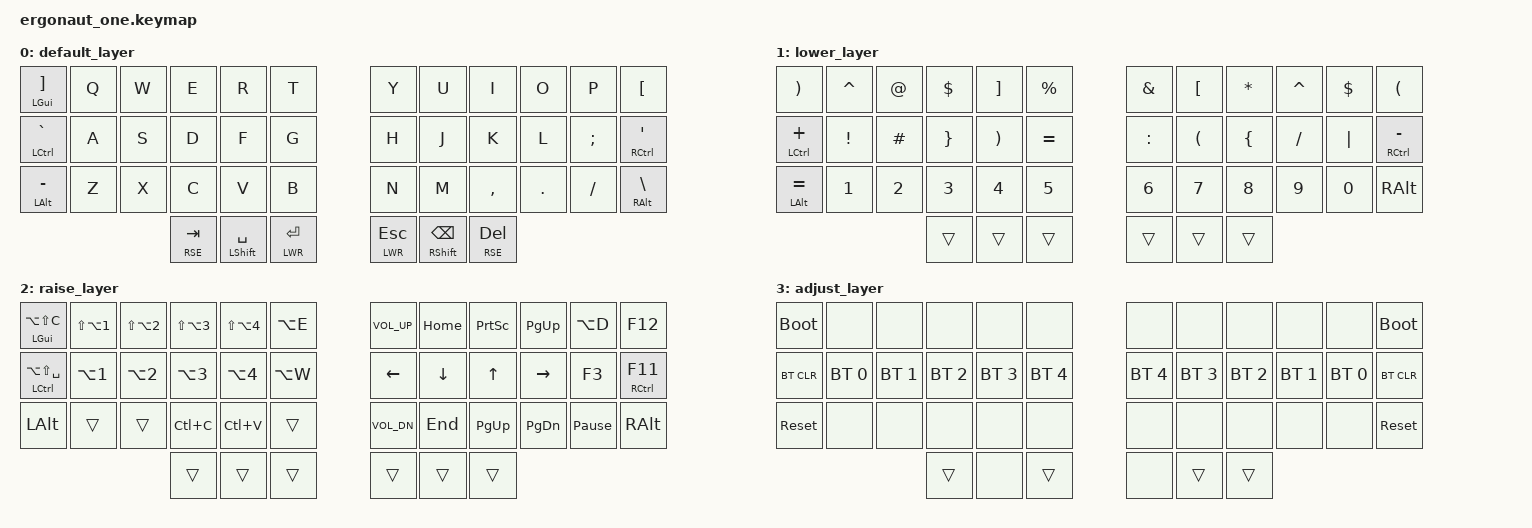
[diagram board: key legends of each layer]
#include <behaviors.dtsi>
#include <dt-bindings/zmk/bt.h>
#include <dt-bindings/zmk/keys.h>

#define DEF 0
#define LWR 1
#define RSE 2
#define ADJ 3

&lt {
    quick-tap-ms = <200>;
};

&mt {
    quick-tap-ms = <200>;
};

/ {
    conditional_layers {
        compatible = "zmk,conditional-layers";

        tri-layer {
            if-layers = <1 2>;
            then-layer = <3>;
        };
    };

    keymap {
        compatible = "zmk,keymap";

        default_layer {
            bindings = <
&mt LGUI RBKT    &kp Q  &kp W  &kp E        &kp R            &kp T        &kp Y        &kp U           &kp I        &kp O    &kp P     &kp LBKT
&mt LCTRL GRAVE  &kp A  &kp S  &kp D        &kp F            &kp G        &kp H        &kp J           &kp K        &kp L    &kp SEMI  &mt RCTRL SQT
&mt LALT MINUS   &kp Z  &kp X  &kp C        &kp V            &kp B        &kp N        &kp M           &kp COMMA    &kp DOT  &kp FSLH  &mt RALT BSLH
                               &lt RSE TAB  &mt LSHFT SPACE  &lt LWR RET  &lt LWR ESC  &mt RSHFT BSPC  &lt RSE DEL
            >;
        };

        lower_layer {
            bindings = <
&kp RIGHT_PARENTHESIS  &kp CARET  &kp AT    &kp DOLLAR       &kp RIGHT_BRACKET      &kp PERCENT  &kp AMPERSAND  &kp LEFT_BRACKET      &kp ASTERISK    &kp CARET  &kp DOLLAR  &kp LEFT_PARENTHESIS
&mt LCTRL PLUS         &kp EXCL   &kp HASH  &kp RIGHT_BRACE  &kp RIGHT_PARENTHESIS  &kp EQUAL    &kp COLON      &kp LEFT_PARENTHESIS  &kp LEFT_BRACE  &kp SLASH  &kp PIPE    &mt RCTRL MINUS
&mt LALT EQUAL         &kp N1     &kp N2    &kp N3           &kp N4                 &kp N5       &kp N6         &kp N7                &kp N8          &kp N9     &kp N0      &kp RALT
                                            &trans           &trans                 &trans       &trans         &trans                &trans
            >;
        };

        raise_layer {
            bindings = <
&mt LGUI LA(LS(C))       &kp LS(LA(NUMBER_1))  &kp LS(LA(NUMBER_2))  &kp LS(LA(NUMBER_3))  &kp LS(LA(NUMBER_4))  &kp LA(E)  &kp C_VOL_UP    &kp HOME  &kp PSCRN  &kp PG_UP  &kp LA(D)        &kp F12
&mt LCTRL LA(LS(SPACE))  &kp LA(NUMBER_1)      &kp LA(NUMBER_2)      &kp LA(NUMBER_3)      &kp LA(NUMBER_4)      &kp LA(W)  &kp LEFT_ARROW  &kp DOWN  &kp UP     &kp RIGHT  &kp F3           &mt RCTRL F11
&kp LALT                 &trans                &trans                &kp LC(C)             &kp LC(V)             &trans     &kp C_VOL_DN    &kp END   &kp PG_UP  &kp PG_DN  &kp PAUSE_BREAK  &kp RALT
                                                                     &trans                &trans                &trans     &trans          &trans    &trans
            >;
        };

        adjust_layer {
            bindings = <
&bootloader  &none         &none         &none         &none         &none         &none         &none         &none         &none         &none         &bootloader
&bt BT_CLR   &bt BT_SEL 0  &bt BT_SEL 1  &bt BT_SEL 2  &bt BT_SEL 3  &bt BT_SEL 4  &bt BT_SEL 4  &bt BT_SEL 3  &bt BT_SEL 2  &bt BT_SEL 1  &bt BT_SEL 0  &bt BT_CLR
&sys_reset   &none         &none         &none         &none         &none         &none         &none         &none         &none         &none         &sys_reset
                                         &trans        &none         &trans        &none         &trans        &trans
            >;
        };
    };
};
